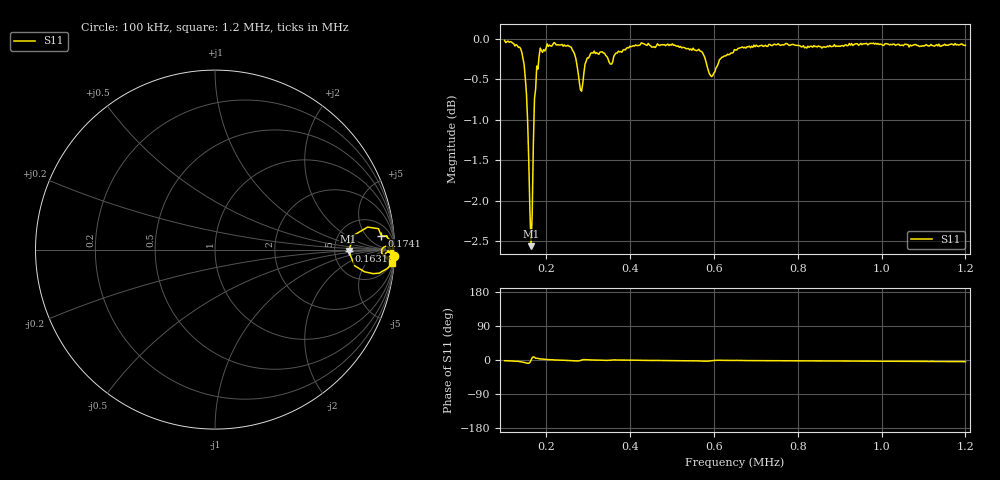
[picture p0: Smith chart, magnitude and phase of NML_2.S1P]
!Agilent Technologies,E5071C,MY46100265,A.07.02
!Date: Wed Mar 04 14:33:42 2020
!Data & Calibration Information:
!Freq	S11:SOLT1(ON)
# Hz S MA R 50
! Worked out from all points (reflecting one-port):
!   402 points, 100 kHz to 1.2 MHz, reference 50 ohm
!   lowest |S11| = -2.6 dB at 163.1 kHz (marker M1), VSWR 6.83, Z = 341 - j12.4 ohm
!   phase of S11 starts at -2 deg and turns -2 deg over the sweep
!   S11 on the Smith chart (normalised r, x): 100 kHz: 5, -59; 163.1 kHz: 6.82, -0.25; 174.1 kHz: 12, +14; 1.2 MHz: 3, -26
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100000  0.9973 -1.9
138404  0.9855 -4.6
146633  0.9634 -6.4
152120  0.9249 -8.2
157606  0.8415 -8.4
160349  0.7841 -6.6
163092  0.7444 -0.6
168579  0.8597 8.4
174065  0.9306 4.7
179551  0.9575 4.4
187781  0.9832 2.7
206983  0.9907 0.8
239900  0.989 -0.6
270075  0.9718 -2.3
281047  0.9297 -1.3
292020  0.9643 0.9
308479  0.98 0.1
352369  0.9645 -0.6
377057  0.9817 -0.1
514214  0.9896 -1.8
577307  0.9743 -3.1
593766  0.9473 -2.0
607481  0.9615 -0.7
651372  0.9837 -1.0
788529  0.9917 -2.4
925686  0.9907 -2.9
1062843  0.9915 -3.6
1200000  0.9903 -4.3
